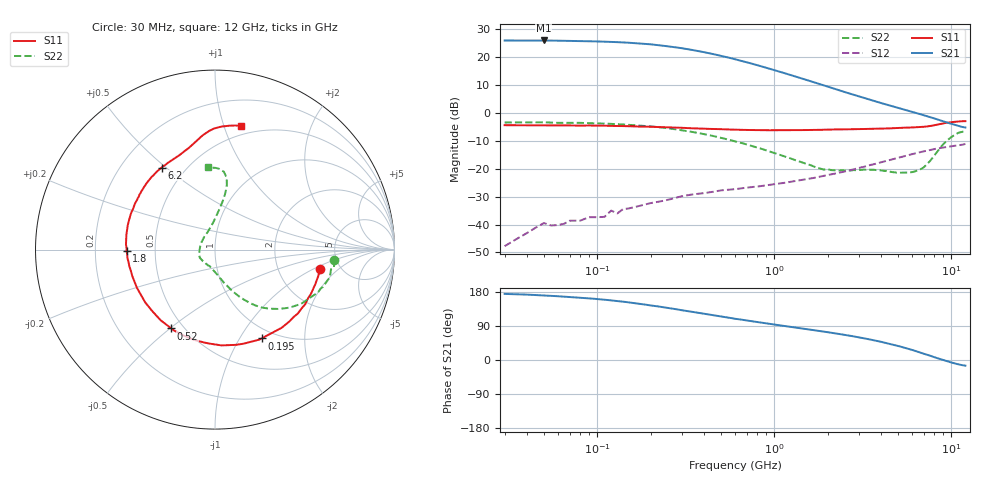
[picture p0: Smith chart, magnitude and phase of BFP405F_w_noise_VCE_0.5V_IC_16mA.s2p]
! Infineon Technologies  Discrete & RF Semiconductors
! BFP405F
! VCE =  0.5 V,  IC =  16 mA
! Common Emitter S-Parameters:  Nov 2015
# GHz  S  MA  R  50
!  f  S11  S21  S12  S22
! GHz  MAG  ANG  MAG  ANG  MAG  ANG  MAG  ANG
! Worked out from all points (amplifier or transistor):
!   239 points, 30 MHz to 12 GHz, reference 50 ohm
!   highest |S21| = 25.8 dB at 50 MHz (marker M1)
!   |S21| within 3 dB of that: start of sweep to 316.4 MHz
!   unconditionally stable (mu >= 1): start of sweep to 48.7 MHz; 668.9 MHz to end of sweep
!   at 300 MHz: K = 0.64, MSG = 26.5 dB, |S12| = -29.9 dB
!   at 1.88 GHz: K = 1.73, MAG = 11.3 dB, |S12| = -22.7 dB
!   at 12 GHz: K = 1.74, MAG = -2.1 dB, |S12| = -11.2 dB
!   lowest NFmin = 2.03 dB at 450 MHz
!   S11 on the Smith chart (normalised r, x): 30 MHz: 3.50, -1.19; 195 MHz: 0.87, -1.25; 520 MHz: 0.43, -0.51; 1.8 GHz: 0.34, -0.01; 6.2 GHz: 0.37, +0.48; 12 GHz: 0.42, +1.14
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0.03  0.595 -10.6  19.39 174.4  0.0041 91.9  0.6649 -4.9
0.04  0.5939 -14.2  19.4 172.6  0.007 77.2  0.6678 -6.7
0.05  0.5912 -18.8  19.44 170.2  0.0106 74.0  0.6703 -8.6
0.085  0.5862 -29.5  18.92 163.4  0.0126 79.9  0.652 -14.9
0.105  0.5828 -35.8  18.59 160.0  0.0136 73.9  0.6394 -18.2
0.14  0.5739 -46.9  17.95 153.9  0.0189 74.5  0.6152 -23.5
0.195  0.5589 -62.3  16.69 144.9  0.0236 63.4  0.5702 -31.5
0.24  0.5479 -73.1  15.54 138.8  0.0268 59.5  0.5335 -36.8
0.3  0.5349 -86.2  14.14 131.4  0.032 57.3  0.4832 -43.2
0.34  0.5244 -93.5  13.23 127.5  0.0342 55.2  0.4537 -46.6
0.4  0.516 -103.6  12.02 121.9  0.0363 52.2  0.4128 -51.3
0.52  0.502 -119.0  10.04 113.5  0.0411 47.6  0.3436 -57.8
0.6  0.4968 -127.6  8.973 108.8  0.0428 46.1  0.3058 -61.7
0.7  0.4893 -136.0  7.901 104.1  0.0456 45.9  0.2689 -65.2
0.92  0.4833 -150.0  6.198 95.9  0.0505 45.0  0.2069 -72.1
1.22  0.4836 -163.0  4.75 87.8  0.0575 46.3  0.1543 -81.6
1.64  0.4897 -175.2  3.554 79.4  0.0672 47.3  0.1115 -96.4
1.8  0.4925 -179.0  3.232 76.5  0.0709 47.6  0.1011 -104.0
2.6  0.5023 166.5  2.238 64.9  0.0912 47.5  0.0932 -135.0
4.5  0.5232 141.8  1.332 42.6  0.1423 42.0  0.0877 -172.5
6.2  0.5454 123.1  1.001 24.5  0.1851 32.6  0.0884 138.9
12  0.7027 78.3  0.541 -14.9  0.2756 2.5  0.4593 94.7
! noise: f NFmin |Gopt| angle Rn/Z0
0.45  2.03  0.08  1  0.37
0.9  2.05  0.07  3  0.39
1.5  2.1  0.06  5  0.16
1.9  2.15  0.05  6  0.27
2.4  2.3  0.02  -8  0.38
3  2.38  0.02  -67  0.22
3.5  2.44  0.03  -99  0.35
4.5  2.65  0.09  -97  0.43
5.5  2.93  0.18  -88  0.16
